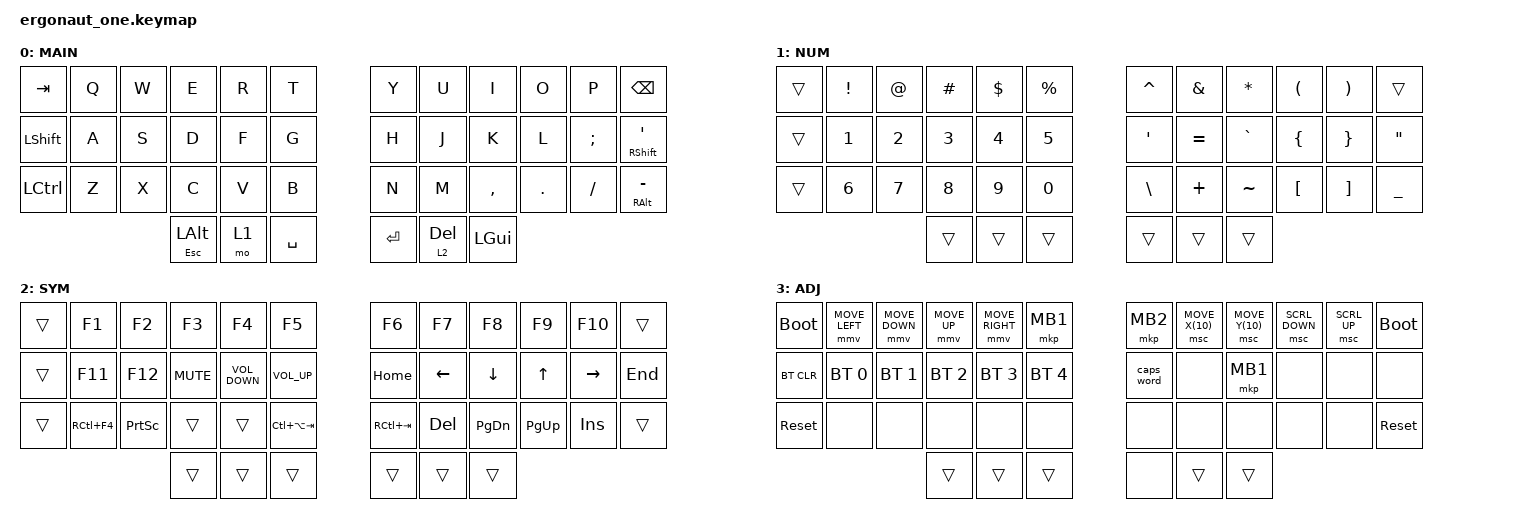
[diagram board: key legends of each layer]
#include <behaviors.dtsi>
#include <dt-bindings/zmk/bt.h>
#include <dt-bindings/zmk/keys.h>
#include <dt-bindings/zmk/pointing.h>

#define DEF 0
#define LWR 1
#define RSE 2
#define ADJ 3

&lt { quick-tap-ms = <200>; };

&mt { quick-tap-ms = <200>; };

/ {
    conditional_layers {
        compatible = "zmk,conditional-layers";

        tri-layer {
            if-layers = <2 1>;
            then-layer = <3>;
        };
    };

    keymap {
        compatible = "zmk,keymap";

        default_layer {
            display-name = "MAIN";
            bindings = <
&kp TAB           &kp Q  &kp W  &kp E                &kp R  &kp T      &kp Y      &kp U      &kp I      &kp O    &kp P     &kp BACKSPACE
&kp LEFT_SHIFT    &kp A  &kp S  &kp D                &kp F  &kp G      &kp H      &kp J      &kp K      &kp L    &kp SEMI  &mt RIGHT_SHIFT SINGLE_QUOTE
&kp LEFT_CONTROL  &kp Z  &kp X  &kp C                &kp V  &kp B      &kp N      &kp M      &kp COMMA  &kp DOT  &kp FSLH  &mt RIGHT_ALT MINUS
                                &mt ESCAPE LEFT_ALT  &mo 1  &kp SPACE  &kp ENTER  &lt 2 DEL  &kp LGUI
            >;
        };

        raise_layer {
            display-name = "NUM";
            bindings = <
&trans  &kp EXCLAMATION  &kp AT_SIGN  &kp HASH      &kp DOLLAR    &kp PERCENT   &kp CARET      &kp AMPERSAND  &kp ASTERISK  &kp LEFT_PARENTHESIS  &kp RIGHT_PARENTHESIS  &trans
&trans  &kp N1           &kp N2       &kp N3        &kp N4        &kp NUMBER_5  &kp SQT        &kp EQUAL      &kp GRAVE     &kp LEFT_BRACE        &kp RIGHT_BRACE        &kp DOUBLE_QUOTES
&trans  &kp NUMBER_6     &kp N7       &kp NUMBER_8  &kp NUMBER_9  &kp NUMBER_0  &kp BACKSLASH  &kp PLUS       &kp TILDE     &kp LEFT_BRACKET      &kp RIGHT_BRACKET      &kp UNDERSCORE
                                      &trans        &trans        &trans        &trans         &trans         &trans
            >;
        };

        lower_layer {
            display-name = "SYM";
            bindings = <
&trans  &kp F1      &kp F2           &kp F3      &kp F4             &kp F5           &kp F6       &kp F7          &kp F8         &kp F9        &kp F10     &trans
&trans  &kp F11     &kp F12          &kp C_MUTE  &kp C_VOLUME_DOWN  &kp C_VOLUME_UP  &kp HOME     &kp LEFT_ARROW  &kp DOWN       &kp UP_ARROW  &kp RIGHT   &kp END
&trans  &kp RC(F4)  &kp PRINTSCREEN  &trans      &trans             &kp LC(LA(TAB))  &kp RC(TAB)  &kp DEL         &kp PAGE_DOWN  &kp PAGE_UP   &kp INSERT  &trans
                                     &trans      &trans             &trans           &trans       &trans          &trans
            >;
        };

        adjust_layer {
            display-name = "ADJ";
            bindings = <
&bootloader  &mmv MOVE_LEFT  &mmv MOVE_DOWN  &mmv MOVE_UP  &mmv MOVE_RIGHT  &mkp MB1      &mkp MB2    &msc MOVE_X(10)  &msc MOVE_Y(10)  &msc SCRL_DOWN  &msc SCRL_UP  &bootloader
&bt BT_CLR   &bt BT_SEL 0    &bt BT_SEL 1    &bt BT_SEL 2  &bt BT_SEL 3     &bt BT_SEL 4  &caps_word  &none            &mkp MB1         &none           &none         &none
&sys_reset   &none           &none           &none         &none            &none         &none       &none            &none            &none           &none         &sys_reset
                                             &trans        &trans           &trans        &none       &trans           &trans
            >;
        };
    };
};
